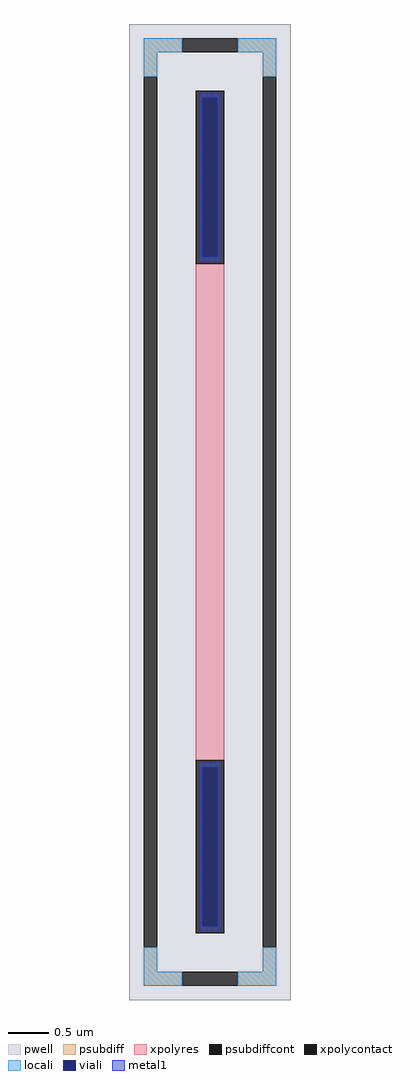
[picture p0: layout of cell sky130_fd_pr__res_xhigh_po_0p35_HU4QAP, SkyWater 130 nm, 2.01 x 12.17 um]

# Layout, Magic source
magic
tech sky130A
magscale 1 2
<< pwell >>
rect -201 -1217 201 1217
<< psubdiff >>
rect -165 1147 -69 1181
rect 69 1147 165 1181
rect -165 1085 -131 1147
rect 131 1085 165 1147
rect -165 -1147 -131 -1085
rect 131 -1147 165 -1085
rect -165 -1181 -69 -1147
rect 69 -1181 165 -1147
<< psubdiffcont >>
rect -69 1147 69 1181
rect -165 -1085 -131 1085
rect 131 -1085 165 1085
rect -69 -1181 69 -1147
<< xpolycontact >>
rect -35 619 35 1051
rect -35 -1051 35 -619
<< xpolyres >>
rect -35 -619 35 619
<< locali >>
rect -165 1147 -69 1181
rect 69 1147 165 1181
rect -165 1085 -131 1147
rect 131 1085 165 1147
rect -165 -1147 -131 -1085
rect 131 -1147 165 -1085
rect -165 -1181 -69 -1147
rect 69 -1181 165 -1147
<< viali >>
rect -19 636 19 1033
rect -19 -1033 19 -636
<< metal1 >>
rect -25 1033 25 1045
rect -25 636 -19 1033
rect 19 636 25 1033
rect -25 624 25 636
rect -25 -636 25 -624
rect -25 -1033 -19 -636
rect 19 -1033 25 -636
rect -25 -1045 25 -1033
<< properties >>
string FIXED_BBOX -148 -1164 148 1164
string gencell sky130_fd_pr__res_xhigh_po_0p35
string library sky130
string parameters w 0.350 l 6.35 m 1 nx 1 wmin 0.350 lmin 0.50 rho 2000 val 37.361k dummy 0 dw 0.0 term 188.2 sterm 0.0 caplen 0 wmax 0.350 guard 1 glc 1 grc 1 gtc 1 gbc 1 compatible {sky130_fd_pr__res_xhigh_po_0p35  sky130_fd_pr__res_xhigh_po_0p69 sky130_fd_pr__res_xhigh_po_1p41  sky130_fd_pr__res_xhigh_po_2p85 sky130_fd_pr__res_xhigh_po_5p73} snake 0 full_metal 1 n_guard 0 hv_guard 0 vias 1 viagb 0 viagt 0 viagl 0 viagr 0
<< end >>
